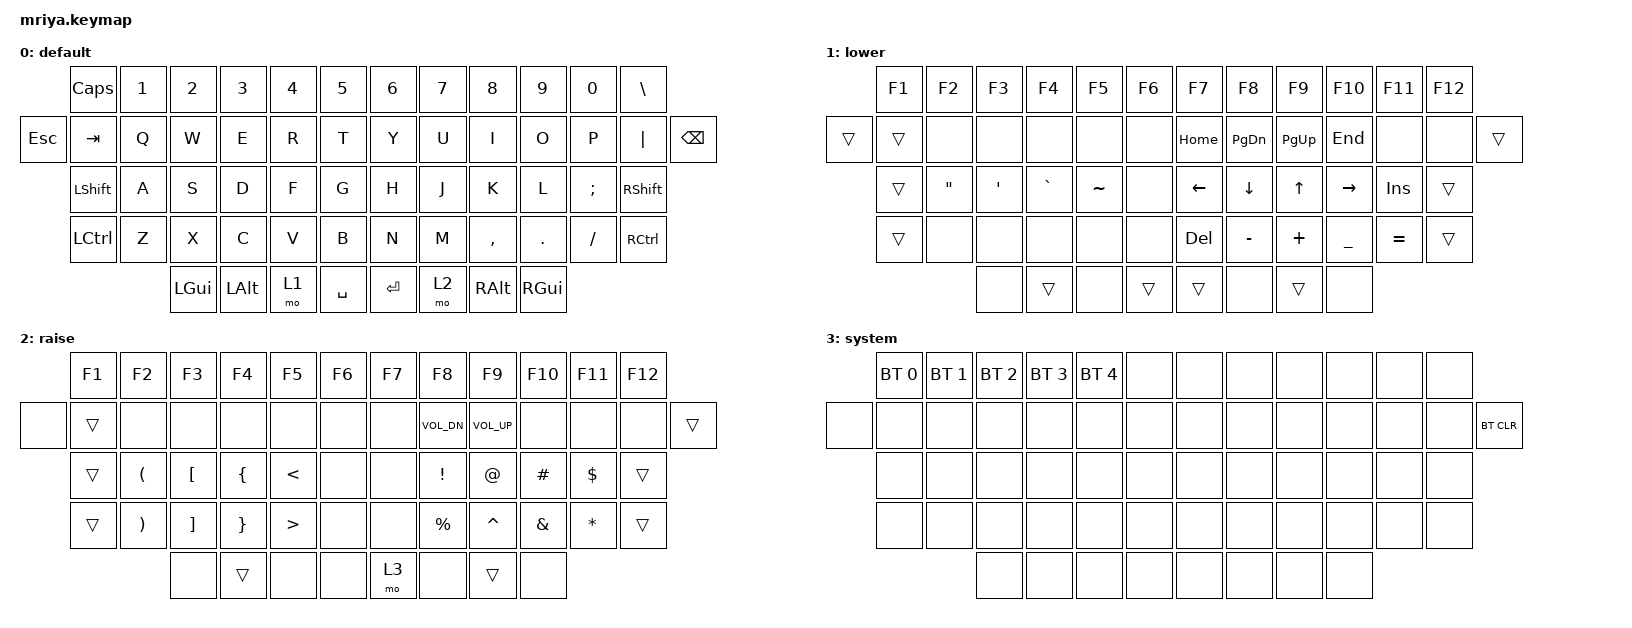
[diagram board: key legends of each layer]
/*
 * Copyright (c) 2023 Andrei Gaevskii
 *
 * SPDX-License-Identifier: MIT
 */

#include <behaviors.dtsi>
#include <dt-bindings/zmk/bt.h>
#include <dt-bindings/zmk/keys.h>

#define DEF 0
#define LWR 1
#define RSE 2
#define ADJ 3

&lt { quick_tap_ms = <200>; };

&mt { quick_tap_ms = <200>; };

/ {
    keymap {
        compatible = "zmk,keymap";

        default {
            bindings = <
         &kp CAPSLOCK    &kp NUMBER_1  &kp N2    &kp N3        &kp N4  &kp N5       &kp N6     &kp N7  &kp N8         &kp N9    &kp N0    &kp BACKSLASH
&kp ESC  &kp TAB         &kp Q         &kp W     &kp E         &kp R   &kp T        &kp Y      &kp U   &kp I          &kp O     &kp P     &kp PIPE         &kp BACKSPACE
         &kp LEFT_SHIFT  &kp A         &kp S     &kp D         &kp F   &kp G        &kp H      &kp J   &kp K          &kp L     &kp SEMI  &kp RIGHT_SHIFT
         &kp LCTRL       &kp Z         &kp X     &kp C         &kp V   &kp B        &kp N      &kp M   &kp COMMA      &kp DOT   &kp FSLH  &kp RCTRL
                                       &kp LGUI  &kp LEFT_ALT  &mo 1   &kp SPACE    &kp ENTER  &mo 2   &kp RIGHT_ALT  &kp RGUI
            >;
        };

        lower {
            bindings = <
        &kp F1  &kp F2   &kp F3   &kp F4     &kp F5     &kp F6    &kp F7    &kp F8         &kp F9       &kp F10         &kp F11    &kp F12
&trans  &trans  &none    &none    &none      &none      &none     &kp HOME  &kp PAGE_DOWN  &kp PAGE_UP  &kp END         &none      &none    &trans
        &trans  &kp DQT  &kp SQT  &kp GRAVE  &kp TILDE  &none     &kp LEFT  &kp DOWN       &kp UP       &kp RIGHT       &kp INS    &trans
        &trans  &none    &none    &none      &none      &none     &kp DEL   &kp MINUS      &kp PLUS     &kp UNDERSCORE  &kp EQUAL  &trans
                         &none    &trans     &none      &trans    &trans    &none          &trans       &none
            >;
        };

        raise {
            bindings = <
       &kp F1  &kp F2                 &kp F3             &kp F4           &kp F5            &kp F6    &kp F7  &kp F8        &kp F9        &kp F10        &kp F11       &kp F12
&none  &trans  &none                  &none              &none            &none             &none     &none   &kp K_VOL_DN  &kp K_VOL_UP  &none          &none         &none    &trans
       &trans  &kp LEFT_PARENTHESIS   &kp LEFT_BRACKET   &kp LEFT_BRACE   &kp LESS_THAN     &none     &none   &kp EXCL      &kp AT        &kp HASH       &kp DOLLAR    &trans
       &trans  &kp RIGHT_PARENTHESIS  &kp RIGHT_BRACKET  &kp RIGHT_BRACE  &kp GREATER_THAN  &none     &none   &kp PERCENT   &kp CARET     &kp AMPERSAND  &kp ASTERISK  &trans
                                      &none              &trans           &none             &none     &mo 3   &none         &trans        &none
            >;
        };

        system {
            bindings = <
       &bt BT_SEL 0  &bt BT_SEL 1  &bt BT_SEL 2  &bt BT_SEL 3  &bt BT_SEL 4  &none    &none  &none  &none  &none  &none  &none
&none  &none         &none         &none         &none         &none         &none    &none  &none  &none  &none  &none  &none  &bt BT_CLR
       &none         &none         &none         &none         &none         &none    &none  &none  &none  &none  &none  &none
       &none         &none         &none         &none         &none         &none    &none  &none  &none  &none  &none  &none
                                   &none         &none         &none         &none    &none  &none  &none  &none
            >;
        };
    };
};
